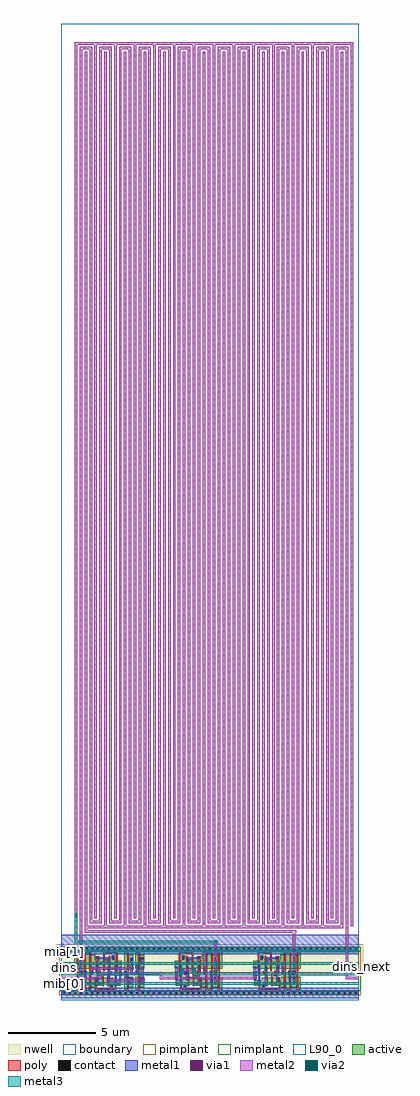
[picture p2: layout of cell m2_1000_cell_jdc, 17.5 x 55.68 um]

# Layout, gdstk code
from math import pi, radians
import gdstk
lib = gdstk.Library(unit=1e-6, precision=1e-09)
def R(c, l, rs):  # rectangles x0, y0, x1, y1
    for r in rs: c.add(gdstk.rectangle(r[:2], r[2:], *l))
def A(c, l, x, y, w, h, nx, ny, dx, dy):  # array of equal rectangles
    R(c, l, [(x+i*dx, y+j*dy, x+i*dx+w, y+j*dy+h) for i in range(nx) for j in range(ny)])
def P(c, l, *ps):  # polygons
    for p in ps: c.add(gdstk.Polygon(p, *l))
nwell = (3, 0)
active = (6, 0)
poly = (17, 0)
pimplant = (25, 0)
nimplant = (26, 0)
contact = (30, 0)
metal1 = (31, 0)
metal2 = (32, 0)
metal3 = (33, 0)
via1 = (51, 0)
via2 = (52, 0)
L90_0 = (90, 0)
boundary = (108, 0)

fill4_delaychain_m9 = lib.new_cell('FILL4_delaychain_m9')
R(fill4_delaychain_m9, nwell, [(-0.27,1.16,1.55,2.79)])
R(fill4_delaychain_m9, active, [(0,-0.1,1.28,0.1), (0,2.42,1.28,2.62)])
R(fill4_delaychain_m9, pimplant, [(-0.13,-0.12,1.41,0.12), (-0.13,1.16,1.41,2.4)])
R(fill4_delaychain_m9, nimplant, [(-0.13,0.12,1.41,1.16), (-0.13,2.4,1.41,2.64)])
A(fill4_delaychain_m9, contact, 0.1, -0.06, 0.12, 0.12, 4, 2, 0.32, 2.52)
R(fill4_delaychain_m9, metal1, [(0,-0.3,1.28,0.3), (0,2.22,1.28,2.82)])
R(fill4_delaychain_m9, L90_0, [(0,0.12,1.28,2.4)])
R(fill4_delaychain_m9, boundary, [(0,0,1.28,2.52)])
fill4_delaychain_m9.add(gdstk.Label('VDD', (0.16,2.52), layer=131, texttype=0))
fill4_delaychain_m9.add(gdstk.Label('VSS', (0.16,0), layer=131, texttype=0))
fill4_delaychain_m9.add(gdstk.Label('FILL4', (0,0), layer=127, texttype=0))

fill1_delaychain_m9 = lib.new_cell('FILL1_delaychain_m9')
R(fill1_delaychain_m9, nwell, [(-0.27,1.16,0.59,2.79)])
R(fill1_delaychain_m9, active, [(0,-0.1,0.32,0.1), (0,2.42,0.32,2.62)])
R(fill1_delaychain_m9, pimplant, [(-0.13,-0.12,0.45,0.12), (-0.13,1.16,0.45,2.4)])
R(fill1_delaychain_m9, nimplant, [(-0.13,0.12,0.45,1.16), (-0.13,2.4,0.45,2.64)])
R(fill1_delaychain_m9, contact, [(0.1,-0.06,0.22,0.06), (0.1,2.46,0.22,2.58)])
R(fill1_delaychain_m9, metal1, [(0,-0.3,0.32,0.3), (0,2.22,0.32,2.82)])
R(fill1_delaychain_m9, L90_0, [(0,0.12,0.32,2.4)])
R(fill1_delaychain_m9, boundary, [(0,0,0.32,2.52)])
fill1_delaychain_m9.add(gdstk.Label('VDD', (0.16,2.52), layer=131, texttype=0))
fill1_delaychain_m9.add(gdstk.Label('VSS', (0.16,0), layer=131, texttype=0))
fill1_delaychain_m9.add(gdstk.Label('FILL1', (0,0), layer=127, texttype=0))

mux2d2_delaychain_m9 = lib.new_cell('MUX2D2_delaychain_m9')
R(mux2d2_delaychain_m9, nwell, [(-0.27,1.16,3.15,2.79)])
P(mux2d2_delaychain_m9, active, [(0,-0.1),(2.88,-0.1),(2.88,0.1),(0.91,0.1),(0.91,0.34),(1.22,0.34),(1.22,0.42),(1.64,0.42),(1.64,0.57),(2.13,0.57),(2.13,0.3),(2.33,0.3),(2.33,0.42),(2.75,0.42),(2.75,0.72),(2.325,0.72),(2.325,0.87),(1.42,0.87),(1.42,0.72),(1.22,0.72),(1.22,0.94),(0.79,0.94),(0.79,0.1),(0.2,0.1),(0.2,0.34),(0.79,0.34),(0.79,0.94),(0.09,0.94),(0.09,0.1),(0,0.1)],
  [(0,2.42),(0.09,2.42),(0.09,1.38),(1.28,1.38),(1.28,1.43),(1.9,1.43),(1.9,1.38),(2.42,1.38),(2.42,1.43),(2.81,1.43),(2.81,1.83),(2.42,1.83),(2.42,2.13),(2.21,2.13),(2.21,1.95),(1.9,1.95),(1.9,1.83),(1.28,1.83),(1.28,2.18),(0.91,2.18),(0.91,2.42),(2.88,2.42),(2.88,2.62),(0.79,2.62),(0.79,2.18),(0.2,2.18),(0.2,2.42),(0.79,2.42),(0.79,2.62),(0,2.62)])
P(mux2d2_delaychain_m9, poly, [(0.25,0.16),(0.35,0.16),(0.35,1.055),(0.64,1.055),(0.64,0.16),(0.74,0.16),(0.74,1.055),(0.82,1.055),(0.82,1.275),(0.74,1.275),(0.74,2.36),(0.64,2.36),(0.64,1.275),(0.35,1.275),(0.35,2.36),(0.25,2.36)],
  [(0.96,0.16),(1.06,0.16),(1.06,1.06),(1.19,1.06),(1.19,1.28),(1.06,1.28),(1.06,2.36),(0.96,2.36)],
  [(1.33,1.16),(1.51,1.16),(1.51,0.97),(1.69,0.97),(1.69,0.39),(1.79,0.39),(1.79,1.07),(1.61,1.07),(1.61,1.26),(1.43,1.26),(1.43,1.88),(1.53,1.88),(1.53,2.1),(1.33,2.1)],
  [(1.98,0.39),(2.08,0.39),(2.08,0.97),(2.16,0.97),(2.16,1.015),(2.26,1.015),(2.26,1.235),(2.16,1.235),(2.16,2.13),(2.06,2.13),(2.06,1.07),(1.98,1.07)],
  [(1.27,0.15),(2.5,0.15),(2.5,0.99),(2.8,0.99),(2.8,1.21),(2.57,1.21),(2.57,2.37),(1.75,2.37),(1.75,1.25),(1.85,1.25),(1.85,2.27),(2.47,2.27),(2.47,1.21),(2.4,1.21),(2.4,0.25),(1.37,0.25),(1.37,0.9),(1.27,0.9)])
R(mux2d2_delaychain_m9, pimplant, [(-0.13,-0.12,3.01,0.12), (-0.13,1.16,3.01,2.4)])
R(mux2d2_delaychain_m9, nimplant, [(-0.13,0.12,3.01,1.16), (-0.13,2.4,3.01,2.64)])
A(mux2d2_delaychain_m9, contact, 0.1, -0.06, 0.12, 0.12, 9, 2, 0.32, 2.52)
R(mux2d2_delaychain_m9, contact, [(2.17,0.35,2.29,0.47), (1.47,0.47,1.59,0.59), (2.58,0.48,2.7,0.6), (0.43,0.52,0.55,0.64), (0.43,0.78,0.55,0.9), (2.65,1.04,2.77,1.16), (2.11,1.065,2.23,1.185), (0.67,1.105,0.79,1.225), (1.04,1.11,1.16,1.23), (0.43,1.62,0.55,1.74), (1.53,1.64,1.65,1.76), (2.65,1.64,2.77,1.76), (0.43,1.88,0.55,2), (1.38,1.93,1.5,2.05), (2.26,1.96,2.38,2.08)])
R(mux2d2_delaychain_m9, metal1, [(0.41,0.47,0.55,2.05), (2.65,0.725,2.79,1.515), (1.04,1.005,1.19,1.515)])
P(mux2d2_delaychain_m9, metal1, [(0.67,0.47),(1.64,0.47),(1.64,0.59),(1.5,0.59),(1.5,1.64),(1.7,1.64),(1.7,1.76),(1.38,1.76),(1.38,0.59),(0.79,0.59),(0.79,1.275),(0.67,1.275)],
  [(2.01,0.725),(2.15,0.725),(2.15,1.015),(2.23,1.015),(2.23,1.235),(2.15,1.235),(2.15,1.515),(2.01,1.515)],
  [(0,-0.3),(2.88,-0.3),(2.88,0.3),(2.29,0.3),(2.29,0.52),(2.17,0.52),(2.17,0.3),(0,0.3)],
  [(0,2.22),(2.26,2.22),(2.26,1.91),(2.38,1.91),(2.38,2.22),(2.88,2.22),(2.88,2.82),(0,2.82)],
  [(1.33,1.93),(1.95,1.93),(1.95,1.64),(2.41,1.64),(2.41,0.48),(2.75,0.48),(2.75,0.6),(2.53,0.6),(2.53,1.64),(2.82,1.64),(2.82,1.76),(2.07,1.76),(2.07,2.05),(1.33,2.05)])
R(mux2d2_delaychain_m9, L90_0, [(0,0.12,2.88,2.4)])
R(mux2d2_delaychain_m9, boundary, [(0,0,2.88,2.52)])
mux2d2_delaychain_m9.add(gdstk.Label('I1', (1.12,1.4), layer=131, texttype=0))
mux2d2_delaychain_m9.add(gdstk.Label('S', (2.72,0.84), layer=131, texttype=0))
mux2d2_delaychain_m9.add(gdstk.Label('I0', (2.08,1.12), layer=131, texttype=0))
mux2d2_delaychain_m9.add(gdstk.Label('Z', (0.48,1.68), layer=131, texttype=0))
mux2d2_delaychain_m9.add(gdstk.Label('VSS', (0.16,0), layer=131, texttype=0))
mux2d2_delaychain_m9.add(gdstk.Label('VDD', (0.16,2.52), layer=131, texttype=0))
mux2d2_delaychain_m9.add(gdstk.Label('MUX2LLD2', (0,0), layer=127, texttype=0))

fill2_delaychain_m9 = lib.new_cell('FILL2_delaychain_m9')
R(fill2_delaychain_m9, nwell, [(-0.27,1.16,0.91,2.79)])
R(fill2_delaychain_m9, active, [(0,-0.1,0.64,0.1), (0,2.42,0.64,2.62)])
R(fill2_delaychain_m9, pimplant, [(-0.13,-0.12,0.77,0.12), (-0.13,1.16,0.77,2.4)])
R(fill2_delaychain_m9, nimplant, [(-0.13,0.12,0.77,1.16), (-0.13,2.4,0.77,2.64)])
R(fill2_delaychain_m9, contact, [(0.1,-0.06,0.22,0.06), (0.42,-0.06,0.54,0.06), (0.1,2.46,0.22,2.58), (0.42,2.46,0.54,2.58)])
R(fill2_delaychain_m9, metal1, [(0,-0.3,0.64,0.3), (0,2.22,0.64,2.82)])
R(fill2_delaychain_m9, L90_0, [(0,0.12,0.64,2.4)])
R(fill2_delaychain_m9, boundary, [(0,0,0.64,2.52)])
fill2_delaychain_m9.add(gdstk.Label('VDD', (0.16,2.52), layer=131, texttype=0))
fill2_delaychain_m9.add(gdstk.Label('VSS', (0.16,0), layer=131, texttype=0))
fill2_delaychain_m9.add(gdstk.Label('FILL2', (0,0), layer=127, texttype=0))

tieh_delaychain_m9 = lib.new_cell('TIEH_delaychain_m9')
R(tieh_delaychain_m9, nwell, [(-0.27,1.16,0.91,2.79)])
P(tieh_delaychain_m9, active, [(0,-0.1),(0.64,-0.1),(0.64,0.1),(0.18,0.1),(0.18,0.34),(0.57,0.34),(0.57,0.94),(0.07,0.94),(0.07,0.1),(0,0.1)],
  [(0,2.42),(0.07,2.42),(0.07,1.38),(0.57,1.38),(0.57,2.18),(0.18,2.18),(0.18,2.42),(0.64,2.42),(0.64,2.62),(0,2.62)])
P(tieh_delaychain_m9, poly, [(0.07,1.05),(0.23,1.05),(0.23,0.16),(0.33,0.16),(0.33,2.36),(0.23,2.36),(0.23,1.27),(0.07,1.27)])
R(tieh_delaychain_m9, pimplant, [(-0.13,-0.12,0.77,0.12), (-0.13,1.16,0.77,2.4)])
R(tieh_delaychain_m9, nimplant, [(-0.13,0.12,0.77,1.16), (-0.13,2.4,0.77,2.64)])
R(tieh_delaychain_m9, contact, [(0.1,-0.06,0.22,0.06), (0.42,-0.06,0.54,0.06), (0.41,0.47,0.53,0.59), (0.41,0.75,0.53,0.87), (0.1,1.1,0.22,1.22), (0.41,1.59,0.53,1.71), (0.41,1.85,0.53,1.97), (0.1,2.46,0.22,2.58), (0.42,2.46,0.54,2.58)])
R(tieh_delaychain_m9, metal1, [(0,-0.3,0.64,0.3), (0.41,1.005,0.55,2.02), (0,2.22,0.64,2.82)])
P(tieh_delaychain_m9, metal1, [(0.1,0.75),(0.36,0.75),(0.36,0.47),(0.58,0.47),(0.58,0.87),(0.22,0.87),(0.22,1.27),(0.1,1.27)])
R(tieh_delaychain_m9, L90_0, [(0,0.12,0.64,2.4)])
R(tieh_delaychain_m9, boundary, [(0,0,0.64,2.52)])
tieh_delaychain_m9.add(gdstk.Label('VDD', (0.16,2.52), layer=131, texttype=0))
tieh_delaychain_m9.add(gdstk.Label('VSS', (0.16,0), layer=131, texttype=0))
tieh_delaychain_m9.add(gdstk.Label('Z', (0.48,1.68), layer=131, texttype=0))
tieh_delaychain_m9.add(gdstk.Label('TIEHLL', (0,0), layer=127, texttype=0))

tiel_delaychain_m9 = lib.new_cell('TIEL_delaychain_m9')
R(tiel_delaychain_m9, nwell, [(-0.27,1.16,0.91,2.79)])
P(tiel_delaychain_m9, active, [(0,-0.1),(0.64,-0.1),(0.64,0.1),(0.18,0.1),(0.18,0.34),(0.57,0.34),(0.57,0.94),(0.07,0.94),(0.07,0.1),(0,0.1)],
  [(0,2.42),(0.07,2.42),(0.07,1.38),(0.57,1.38),(0.57,2.18),(0.18,2.18),(0.18,2.42),(0.64,2.42),(0.64,2.62),(0,2.62)])
P(tiel_delaychain_m9, poly, [(0.07,1.05),(0.23,1.05),(0.23,0.16),(0.33,0.16),(0.33,2.36),(0.23,2.36),(0.23,1.27),(0.07,1.27)])
R(tiel_delaychain_m9, pimplant, [(-0.13,-0.12,0.77,0.12), (-0.13,1.16,0.77,2.4)])
R(tiel_delaychain_m9, nimplant, [(-0.13,0.12,0.77,1.16), (-0.13,2.4,0.77,2.64)])
R(tiel_delaychain_m9, contact, [(0.1,-0.06,0.22,0.06), (0.42,-0.06,0.54,0.06), (0.41,0.47,0.53,0.59), (0.41,0.75,0.53,0.87), (0.1,1.1,0.22,1.22), (0.41,1.67,0.53,1.79), (0.41,1.93,0.53,2.05), (0.1,2.46,0.22,2.58), (0.42,2.46,0.54,2.58)])
R(tiel_delaychain_m9, metal1, [(0,-0.3,0.64,0.3), (0,2.22,0.64,2.82)])
P(tiel_delaychain_m9, metal1, [(0.1,1.05),(0.22,1.05),(0.22,1.65),(0.58,1.65),(0.58,2.05),(0.36,2.05),(0.36,1.77),(0.1,1.77)],
  [(0.36,0.47),(0.58,0.47),(0.58,0.94),(0.55,0.94),(0.55,1.515),(0.41,1.515),(0.41,0.94),(0.36,0.94)])
R(tiel_delaychain_m9, L90_0, [(0,0.12,0.64,2.4)])
R(tiel_delaychain_m9, boundary, [(0,0,0.64,2.52)])
tiel_delaychain_m9.add(gdstk.Label('ZN', (0.48,0.84), layer=131, texttype=0))
tiel_delaychain_m9.add(gdstk.Label('VSS', (0.16,0), layer=131, texttype=0))
tiel_delaychain_m9.add(gdstk.Label('VDD', (0.16,2.52), layer=131, texttype=0))
tiel_delaychain_m9.add(gdstk.Label('TIELLL', (0,0), layer=127, texttype=0))

m2_1000_cell_jdc = lib.new_cell('m2_1000_cell_jdc')
R(m2_1000_cell_jdc, metal1, [(2.165,-4.505,2.305,-4.42), (-0.485,-2.325,16.475,-1.815)])
A(m2_1000_cell_jdc, metal2, 13.215, -1.435, 0.14, 49.98, 3, 1, 1.12, 0)
A(m2_1000_cell_jdc, metal2, 11.255, -1.155, 0.7, 0.14, 4, 1, 1.12, 0)
A(m2_1000_cell_jdc, metal2, 11.815, -1.155, 0.14, 49.98, 7, 1, 0.56, 0)
A(m2_1000_cell_jdc, metal2, 11.815, 48.685, 0.7, 0.14, 4, 1, 1.12, 0)
R(m2_1000_cell_jdc, metal2, [(11.125,-4.725,11.265,-4.19), (2.095,-4.46,4.285,-4.32), (15.735,-4.355,15.875,-0.715), (15.735,-4.355,16.475,-4.215), (6.29,-3.9,7.17,-3.76), (7.61,-3.86,7.75,-2.63), (12.09,-3.86,12.23,-3.345), (1.155,-3.815,3.635,-3.675), (0.565,-3.325,0.705,-0.85), (8.245,-3.325,8.385,-2.12), (12.725,-3.325,12.865,-1.66), (0.845,-1.715,0.985,-0.755), (11.115,-1.435,15.595,-1.295), (12.095,-1.375,12.235,48.545), (15.735,-1.32,15.875,48.825), (16.015,-1.32,16.155,49.085), (12.655,-0.875,12.795,49.025), (13.775,-0.875,13.915,49.025), (14.895,-0.875,15.035,49.05), (11.535,48.965,16.155,49.105)])
P(m2_1000_cell_jdc, metal2, [(0.845,-1.715),(0.845,48.545),(0.985,48.545),(0.985,-1.295),(1.965,-1.295),(1.965,48.545),(2.105,48.545),(2.105,-1.295),(3.085,-1.295),(3.085,48.545),(3.225,48.545),(3.225,-1.295),(4.205,-1.295),(4.205,48.545),(4.345,48.545),(4.345,-1.295),(5.325,-1.295),(5.325,48.545),(5.465,48.545),(5.465,-1.295),(6.45,-1.295),(6.45,48.545),(6.59,48.545),(6.59,-1.295),(7.595,-1.295),(7.595,48.545),(7.735,48.545),(7.735,-1.295),(8.725,-1.295),(8.725,48.545),(8.865,48.545),(8.865,-1.295),(9.855,-1.295),(9.855,48.545),(9.995,48.545),(9.995,-1.295),(10.975,-1.295),(10.975,48.545),(11.115,48.545),(11.115,-1.435),(0.845,-1.435),(0.845,-1.575),(12.905,-1.575),(12.905,-1.715)],
  [(0.285,-0.835),(0.285,49.105),(11.675,49.105),(11.675,-0.875),(11.535,-0.875),(11.535,48.965),(10.555,48.965),(10.555,-0.875),(10.415,-0.875),(10.415,48.965),(9.43,48.965),(9.43,-0.875),(9.29,-0.875),(9.29,48.965),(8.3,48.965),(8.3,-0.875),(8.16,-0.875),(8.16,48.965),(7.16,48.965),(7.16,-0.875),(7.02,-0.875),(7.02,48.965),(6.025,48.965),(6.025,-0.875),(5.885,-0.875),(5.885,48.965),(4.905,48.965),(4.905,-0.875),(4.765,-0.875),(4.765,48.965),(3.785,48.965),(3.785,-0.875),(3.645,-0.875),(3.645,48.965),(2.665,48.965),(2.665,-0.875),(2.525,-0.875),(2.525,48.965),(1.545,48.965),(1.545,-0.875),(1.405,-0.875),(1.405,48.965),(0.425,48.965),(0.425,-0.835)],
  [(0.565,-1.32),(0.565,48.825),(1.265,48.825),(1.265,-1.015),(1.685,-1.015),(1.685,48.825),(2.385,48.825),(2.385,-1.015),(2.805,-1.015),(2.805,48.825),(3.505,48.825),(3.505,-1.015),(3.925,-1.015),(3.925,48.825),(4.625,48.825),(4.625,-1.015),(5.045,-1.015),(5.045,48.825),(5.745,48.825),(5.745,-1.015),(6.165,-1.015),(6.165,48.825),(6.87,48.825),(6.87,-1.015),(7.3,-1.015),(7.3,48.825),(8.015,48.825),(8.015,-1.015),(8.44,-1.015),(8.44,48.825),(9.145,48.825),(9.145,-1.015),(9.57,-1.015),(9.57,48.825),(10.275,48.825),(10.275,-1.015),(10.695,-1.015),(10.695,48.825),(11.395,48.825),(11.395,-1.155),(11.255,-1.155),(11.255,48.685),(10.835,48.685),(10.835,-1.155),(10.135,-1.155),(10.135,48.685),(9.715,48.685),(9.715,-1.155),(9.005,-1.155),(9.005,48.685),(8.58,48.685),(8.58,-1.155),(7.875,-1.155),(7.875,48.685),(7.44,48.685),(7.44,-1.155),(6.73,-1.155),(6.73,48.685),(6.305,48.685),(6.305,-1.155),(5.605,-1.155),(5.605,48.685),(5.185,48.685),(5.185,-1.155),(4.485,-1.155),(4.485,48.685),(4.065,48.685),(4.065,-1.155),(3.365,-1.155),(3.365,48.685),(2.945,48.685),(2.945,-1.155),(2.245,-1.155),(2.245,48.685),(1.825,48.685),(1.825,-1.155),(1.125,-1.155),(1.125,48.685),(0.705,48.685),(0.705,-1.32)],
  [(-0.485,-4.355),(-0.485,-4.215),(1.685,-4.215),(1.685,-3.955),(5.265,-3.955),(5.265,-4.215),(10.67,-4.215),(10.67,-4.355),(5.125,-4.355),(5.125,-4.095),(1.825,-4.095),(1.825,-4.355)])
R(m2_1000_cell_jdc, metal3, [(-0.485,-4.68,7.21,-4.54), (6.92,-4.68,14.25,-4.54), (13.955,-4.68,16.475,-4.54), (-0.485,-4.12,6.475,-3.98), (6.335,-4.12,6.475,-3.715), (6.985,-4.12,7.125,-3.715), (6.985,-4.12,14.52,-3.98), (13.99,-4.12,16.475,-3.98), (-0.485,-3.53,16.475,-3.39), (-0.485,-2.815,14.405,-2.675), (13.985,-2.815,16.475,-2.675)])
P(m2_1000_cell_jdc, metal3, [(0.285,-2.305),(0.285,-0.605),(0.425,-0.605),(0.425,-2.165),(8.43,-2.165),(8.43,-2.305)])
R(m2_1000_cell_jdc, via1, [(2.17,-4.455,2.3,-4.325), (4.085,-4.455,4.215,-4.325), (11.13,-4.37,11.26,-4.24), (6.01,-4.35,6.14,-4.22), (10.49,-4.35,10.62,-4.22), (2.81,-4.09,2.94,-3.96), (6.65,-3.895,6.78,-3.765), (6.65,-3.895,6.78,-3.765), (1.205,-3.81,1.335,-3.68), (3.45,-3.81,3.58,-3.68), (7.615,-3.81,7.745,-3.68), (12.095,-3.81,12.225,-3.68), (0.57,-3.275,0.7,-3.145), (8.25,-3.275,8.38,-3.145), (12.73,-3.275,12.86,-3.145)])
R(m2_1000_cell_jdc, via2, [(11.13,-4.675,11.26,-4.545), (6.34,-3.895,6.47,-3.765), (6.99,-3.895,7.12,-3.765), (12.095,-3.525,12.225,-3.395), (7.615,-2.81,7.745,-2.68), (8.25,-2.3,8.38,-2.17), (0.29,-0.785,0.42,-0.655)])
R(m2_1000_cell_jdc, boundary, [(-0.485,-5.54,16.475,50.136)])
m2_1000_cell_jdc.add(gdstk.Reference(fill4_delaychain_m9, (8.795,-5.145)))
m2_1000_cell_jdc.add(gdstk.Reference(fill4_delaychain_m9, (13.275,-5.145)))
m2_1000_cell_jdc.add(gdstk.Reference(fill4_delaychain_m9, (14.555,-5.145)))
m2_1000_cell_jdc.add(gdstk.Reference(fill4_delaychain_m9, (4.315,-5.145)))
m2_1000_cell_jdc.add(gdstk.Reference(fill1_delaychain_m9, (10.075,-5.145)))
m2_1000_cell_jdc.add(gdstk.Reference(fill1_delaychain_m9, (5.595,-5.145)))
m2_1000_cell_jdc.add(gdstk.Reference(mux2d2_delaychain_m9, (13.275,-5.145), rotation=pi, x_reflection=True))
m2_1000_cell_jdc.add(gdstk.Reference(mux2d2_delaychain_m9, (8.795,-5.145), rotation=pi, x_reflection=True))
m2_1000_cell_jdc.add(gdstk.Reference(mux2d2_delaychain_m9, (0.155,-5.145)))
m2_1000_cell_jdc.add(gdstk.Reference(fill2_delaychain_m9, (-0.485,-5.145)))
m2_1000_cell_jdc.add(gdstk.Reference(fill2_delaychain_m9, (15.835,-5.145)))
m2_1000_cell_jdc.add(gdstk.Reference(tieh_delaychain_m9, (3.035,-5.145)))
m2_1000_cell_jdc.add(gdstk.Reference(tiel_delaychain_m9, (3.675,-5.145)))
m2_1000_cell_jdc.add(gdstk.Label('dins', (-0.33,-3.662), layer=132, texttype=0))
m2_1000_cell_jdc.add(gdstk.Label('dins_next', (16.622,-3.622), layer=132, texttype=0))
m2_1000_cell_jdc.add(gdstk.Label('mib[0]', (-0.295,-4.622), layer=133, texttype=0))
m2_1000_cell_jdc.add(gdstk.Label('mia[0]', (-0.275,-4.052), layer=133, texttype=0))
m2_1000_cell_jdc.add(gdstk.Label('mib[1]', (-0.285,-3.468), layer=133, texttype=0))
m2_1000_cell_jdc.add(gdstk.Label('mia[1]', (-0.32,-2.747), layer=133, texttype=0))

lib.write_gds('m2_1000_cell_jdc.gds')
